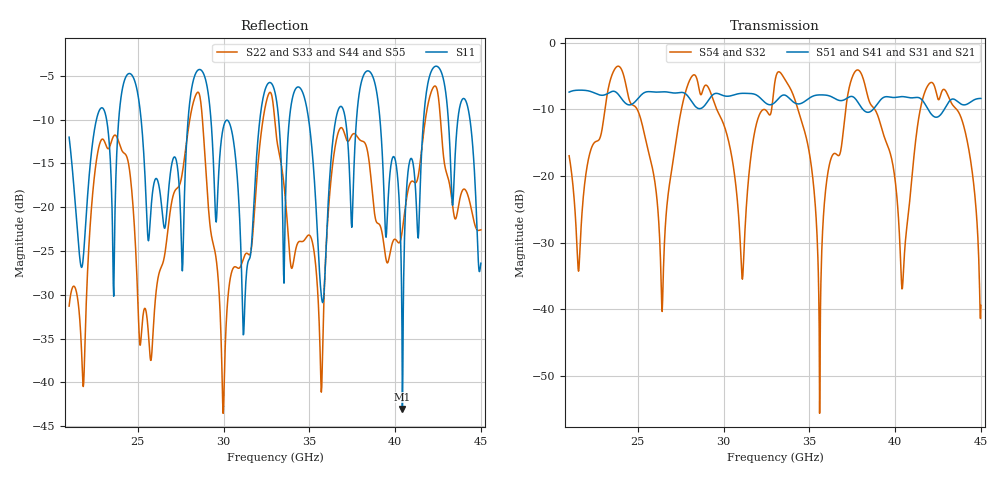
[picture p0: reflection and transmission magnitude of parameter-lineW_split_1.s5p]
! Created Mon Jun 10 12:48:45 2024
# hz S ma R 50
! 5 Port Network Data from SP1.SP block
! freq  magS11  angS11  magS12  angS12  magS13  angS13  magS14  angS14
!  magS15  angS15
!  magS21  angS21  magS22  angS22  magS23  angS23
!  magS24  angS24  magS25  angS25
!  magS31  angS31  magS32  angS32
!  magS33  angS33  magS34  angS34  magS35  angS35
!  magS41  angS41
!  magS42  angS42  magS43  angS43  magS44  angS44  magS45  angS45
!  magS51  angS51  magS52  angS52  magS53  angS53  magS54  angS54
!  magS55  angS55
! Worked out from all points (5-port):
!   961 points, 21 GHz to 45 GHz, reference 50 ohm
!   strongest paths, dB at 21 GHz, 27 GHz, 33 GHz, 39 GHz, 45 GHz:
!     S51: -7.4, -7.5, -8.9, -9.1, -8.3
!     S41: -7.4, -7.5, -8.9, -9.1, -8.3
!     S31: -7.4, -7.5, -8.9, -9.1, -8.3
!     S21: -7.4, -7.5, -8.9, -9.1, -8.3
!     S54: -17.0, -18.7, -5.8, -11.0, -39.4
!     S32: -17.0, -18.7, -5.8, -11.0, -39.4
!   lowest |S11| = -43.0 dB at 40.42 GHz (marker M1), VSWR 1.01, Z = 49.5 + j0.48 ohm
!   |S11| at or under -10 dB: 25.2 GHz to 27.93 GHz (2.737 GHz wide, 10.3 % of centre); 29.27 GHz to 32.12 GHz (2.85 GHz wide, 9.29 % of centre); 39.12 GHz to 41.66 GHz (2.541 GHz wide, 6.29 % of centre)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
